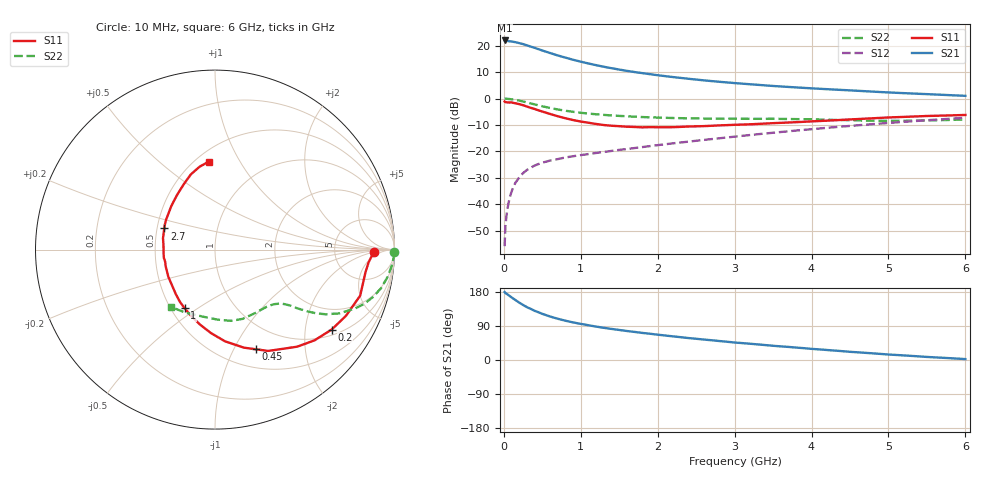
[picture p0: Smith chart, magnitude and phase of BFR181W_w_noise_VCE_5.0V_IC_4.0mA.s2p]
! Infineon Technologies  Discrete & RF Semiconductors
! BFR181W
! VCE =  5.0 V,  IC =  4.0 mA
! Common Emitter S-Parameters:  Jan 2017
# GHz  S  MA  R  50
!  f  S11  S21  S12  S22
! GHz  MAG  ANG  MAG  ANG  MAG  ANG  MAG  ANG
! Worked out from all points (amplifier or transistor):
!   77 points, 10 MHz to 6 GHz, reference 50 ohm
!   highest |S21| = 22.1 dB at 10 MHz (marker M1)
!   |S21| within 3 dB of that: start of sweep to 420.8 MHz
!   unconditionally stable (mu >= 1): 1.477 GHz to 3.513 GHz
!   at 130 MHz: K = 0.15, MSG = 27.3 dB, |S12| = -33.1 dB
!   at 2.2 GHz: K = 1.08, MAG = 10.8 dB, |S12| = -16.9 dB
!   at 6 GHz: K = 0.85, MSG = 4.2 dB, |S12| = -7.3 dB
!   lowest NFmin = 0.92 dB at 450 MHz
!   S11 on the Smith chart (normalised r, x): 10 MHz: 16, -2; 200 MHz: 1.18, -2.78; 450 MHz: 0.71, -1.23; 1 GHz: 0.59, -0.44; 2.7 GHz: 0.55, +0.14; 6 GHz: 0.58, +0.75
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0.01  0.8834 -1.0  12.67 179.3  0.0016 97.9  0.9991 -0.9
0.02  0.8583 -4.8  12.45 176.9  0.0037 85.1  0.9986 -1.6
0.06  0.8463 -10.4  12.31 171.2  0.0103 83.0  0.9878 -5.4
0.15  0.8178 -26.8  11.76 158.3  0.0254 75.0  0.9499 -13.1
0.2  0.7881 -34.4  11.29 151.4  0.0322 72.8  0.918 -16.8
0.25  0.7506 -42.3  10.81 145.2  0.0388 67.8  0.8841 -20.0
0.3  0.709 -49.7  10.24 139.5  0.0445 65.2  0.8468 -22.8
0.4  0.6378 -62.3  9.197 129.8  0.054 60.9  0.778 -27.2
0.45  0.6007 -67.6  8.666 126.0  0.0576 58.8  0.7472 -28.6
0.5  0.5695 -73.6  8.178 121.8  0.0612 57.0  0.717 -30.2
0.6  0.5134 -83.9  7.332 114.8  0.067 55.1  0.666 -32.2
0.7  0.4644 -93.0  6.59 108.9  0.0715 54.0  0.6242 -33.6
0.8  0.4252 -101.5  5.994 103.7  0.0768 53.7  0.5905 -34.6
1  0.3683 -117.3  5.023 95.3  0.0851 53.4  0.5396 -36.1
1.1  0.3496 -124.2  4.64 91.7  0.0891 53.7  0.522 -36.7
1.5  0.3008 -150.0  3.559 79.3  0.1069 55.8  0.4708 -39.7
2.1  0.2867 179.7  2.669 64.6  0.1368 58.5  0.4338 -46.5
2.7  0.306 157.4  2.153 52.1  0.1712 59.4  0.4195 -55.7
3.1  0.3227 145.7  1.924 44.6  0.1975 59.0  0.4155 -62.1
4.1  0.3764 122.8  1.54 28.0  0.2717 55.3  0.4027 -79.2
5.1  0.4454 106.3  1.291 13.3  0.3547 48.4  0.3792 -103.8
6  0.4909 94.2  1.131 2.4  0.4338 40.4  0.4035 -127.9
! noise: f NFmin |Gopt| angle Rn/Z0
0.45  0.92  0.39  16  0.24
0.9  0.97  0.36  31  0.24
1.9  1.4  0.2  79  0.2
2.4  1.56  0.17  94  0.22
